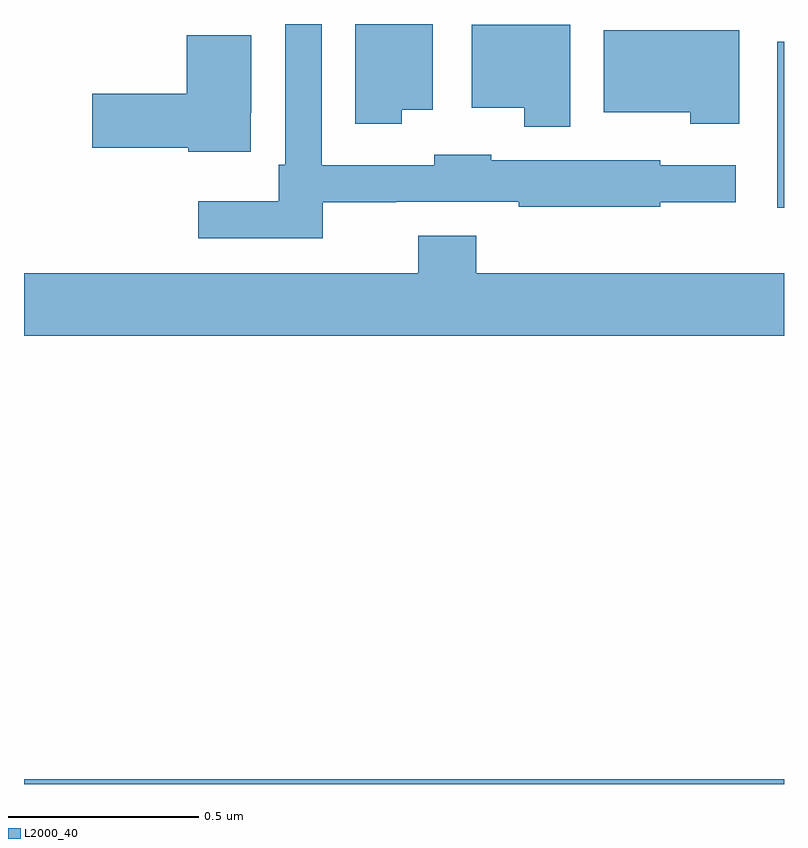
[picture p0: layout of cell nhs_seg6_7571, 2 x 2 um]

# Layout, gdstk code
import gdstk
lib = gdstk.Library(unit=1e-6, precision=1e-09)
def R(c, l, rs):  # rectangles x0, y0, x1, y1
    for r in rs: c.add(gdstk.rectangle(r[:2], r[2:], *l))
def P(c, l, *ps):  # polygons
    for p in ps: c.add(gdstk.Polygon(p, *l))
L2000_40 = (2000, 40)

nhs_seg6_7571 = lib.new_cell('nhs_seg6_7571')
R(nhs_seg6_7571, L2000_40, [(210,935.5,212,935.512), (211.982,937.016,212,937.453)])
P(nhs_seg6_7571, L2000_40, [(210.994,937.274),(211.075,937.274),(211.075,937.5),(210.872,937.5),(210.872,937.238),(210.994,937.238)],
  [(210.786,937.031),(210.98,937.031),(210.98,937.032),(211.302,937.032),(211.302,937.019),(211.674,937.019),(211.674,937.031),(211.873,937.031),(211.873,937.128),(211.674,937.128),(211.674,937.141),(211.23,937.141),(211.23,937.156),(211.08,937.156),(211.08,937.128),(210.783,937.128),(210.783,937.5),(210.687,937.5),(210.687,937.129),(210.671,937.129),(210.671,937.033),(210.459,937.033),(210.459,936.936),(210.786,936.936)],
  [(211.438,937.498),(211.178,937.498),(211.178,937.28),(211.316,937.28),(211.316,937.23),(211.438,937.23)],
  [(211.882,937.483),(211.526,937.483),(211.526,937.268),(211.753,937.268),(211.753,937.238),(211.882,937.238)],
  [(210.597,937.267),(210.598,937.267),(210.598,937.471),(210.428,937.471),(210.428,937.316),(210.18,937.316),(210.18,937.174),(210.432,937.174),(210.432,937.164),(210.597,937.164)],
  [(212,936.844),(211.19,936.844),(211.19,936.943),(211.037,936.943),(211.037,936.844),(210,936.844),(210,936.68),(212,936.68)])

lib.write_gds('nhs_seg6_7571.gds')
